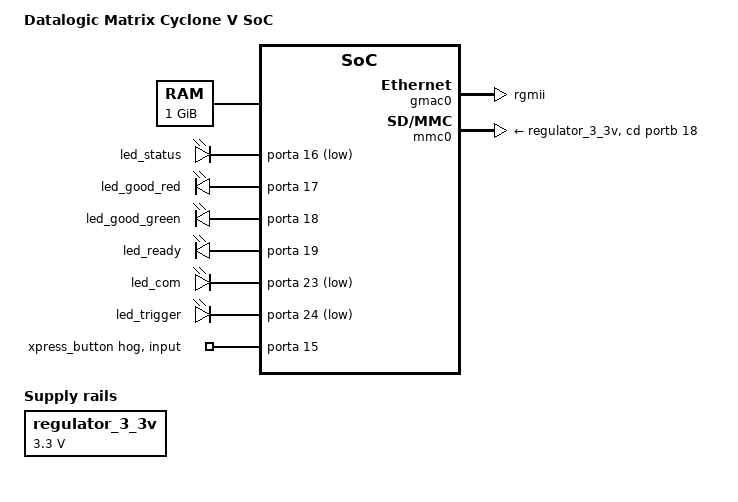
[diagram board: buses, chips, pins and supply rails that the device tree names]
// SPDX-License-Identifier: GPL-2.0+
/*
 * Copyright (C) 2012 Altera Corporation <www.altera.com>
 */

#include <dt-bindings/gpio/gpio.h>

#include "socfpga_cyclone5.dtsi"

/ {
	model = "Datalogic Matrix Cyclone V SoC";
	compatible = "altr,socfpga-cyclone5-matrix", "altr,socfpga-cyclone5", "altr,socfpga";

	chosen {
		bootargs = "earlyprintk";
		stdout-path = "serial0:115200n8";
	};

	memory {
		name = "memory";
		device_type = "memory";
		reg = <0x0 0x40000000>; /* 1GB */
	};

	aliases {
		/* this allow the ethaddr uboot environmnet variable contents
		 * to be added to the gmac1 device tree blob.
		 */
		ethernet0 = &gmac0;
	};

	leds {
		compatible = "gpio-leds";
		status {
			label = "led_status";
			gpios = <&porta 16 GPIO_ACTIVE_LOW>;
			default-state = "off";
		};

		good_red {
			label = "led_good_red";
			gpios = <&porta 17 GPIO_ACTIVE_HIGH>;
			default-state = "off";
		};

		good_green {
			label = "led_good_green";
			gpios = <&porta 18 GPIO_ACTIVE_HIGH>;
			default-state = "off";
		};

		ready {
			label = "led_ready";
			gpios = <&porta 19 GPIO_ACTIVE_HIGH>;
			default-state = "off";
		};

		com {
			label = "led_com";
			gpios = <&porta 23 GPIO_ACTIVE_LOW>;
			default-state = "off";
		};

		trigger {
			label = "led_trigger";
			gpios = <&porta 24 GPIO_ACTIVE_LOW>;
			default-state = "off";
		};
	};

	regulator_3_3v: 3-3-v-regulator {
		compatible = "regulator-fixed";
		regulator-name = "3.3V";
		regulator-min-microvolt = <3300000>;
		regulator-max-microvolt = <3300000>;
	};
};

&gmac0 {
	status = "okay";
	phy-mode = "rgmii";

	rxd0-skew-ps = <0>;
	rxd1-skew-ps = <0>;
	rxd2-skew-ps = <0>;
	rxd3-skew-ps = <0>;
	txen-skew-ps = <0>;
	txc-skew-ps = <1560>;
	rxdv-skew-ps = <0>;
	rxc-skew-ps = <1200>;
};

&gpio0 {
	status = "okay";
};

&porta {
	xpress_button {
		gpio-hog;
		input;
		gpios = <15 GPIO_ACTIVE_HIGH>;
	};
};

&mmc0 {
	cd-gpios = <&portb 18 0>;
	vmmc-supply = <&regulator_3_3v>;
	vqmmc-supply = <&regulator_3_3v>;
	status = "okay";
};
